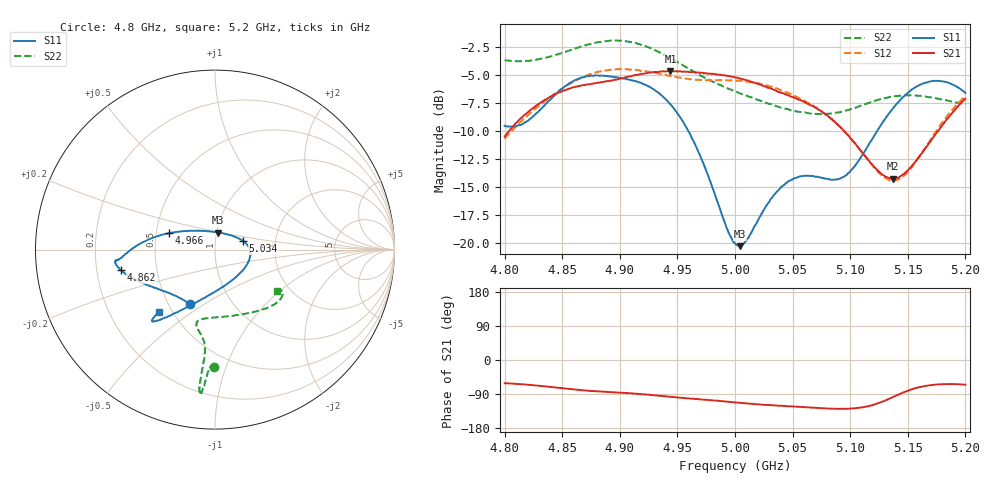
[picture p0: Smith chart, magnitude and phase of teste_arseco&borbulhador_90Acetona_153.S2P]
! Network Analyzer HP8722D
! Hewlett-Packard
! Data name: Linha & Wilkinson
! Saver's name: Rodrigo Anjos
! Comments: Teste da utilização de aquisição
! continua pelo VNA HP8722D
! Time and date: 17/4/2025 12:19
!  Frequency  S11  S21  S12  S22
# HZ  S  MA R 50
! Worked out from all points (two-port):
!   401 points, 4.8 GHz to 5.2 GHz, reference 50 ohm
!   highest |S21| = -4.63 dB at 4.944 GHz (marker M1); lowest = -14.3 dB at 5.137 GHz (marker M2)
!   |S21| within 3 dB of the highest: 4.829 GHz to 5.065 GHz (235.9 MHz wide, 4.77 % of centre); 5.194845 GHz to end of sweep
!   lowest |S11| = -20.3 dB at 5.004 GHz (marker M3), VSWR 1.21, Z = 50.7 + j9.75 ohm
!   |S11| at or under -10 dB: 4.959 GHz to 5.123 GHz (163.9 MHz wide, 3.25 % of centre)
!   |S22| runs from -8.5 to -1.9 dB; largest |S21 - S12| = 0.88
!   S11 on the Smith chart (normalised r, x): 4.8 GHz: 0.64, -0.43; 4.862 GHz: 0.30, -0.10; 4.966 GHz: 0.59, +0.12; 5.034 GHz: 1.36, +0.14; 5.2 GHz: 0.42, -0.38
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4.8e9  0.3337 -115.1  0.2995 -61.4  0.2923 -175.7  0.6568 -90.3
4.819e9  0.3488 -135.2  0.3796 -65.0  0.3674 -174.5  0.6516 -91.9
4.862e9  0.5368 -167.6  0.4999 -78.3  0.5338 -177.7  0.7436 -94.2
4.867e9  0.5481 -169.6  0.5061 -79.6  0.5485 -178.8  0.7582 -94.4
4.9e9  0.5465 -174.0  0.5429 -86.0  0.5981 174.6  0.8012 -95.9
4.934e9  0.4679 180.0  0.5821 -94.4  0.5739 171.1  0.7128 -96.3
4.944e9  0.4166 175.4  0.5866 -97.1  0.5585 171.2  0.6716 -96.1
4.966e9  0.2709 160.2  0.5782 -102.8  0.5362 173.1  0.5758 -95.5
4.993e9  0.1159 117.0  0.5588 -109.8  0.5335 175.4  0.4927 -98.3
5e9  0.09943 94.7  0.5504 -112.1  0.5325 175.6  0.4766 -99.7
5.004e9  0.09657 80.1  0.5449 -112.7  0.5308 175.5  0.4676 -100.6
5.012e9  0.1061 54.6  0.5293 -114.9  0.5247 175.2  0.4509 -102.3
5.034e9  0.1641 17.1  0.4831 -120.0  0.4932 174.2  0.4119 -103.8
5.049e9  0.1913 2.3  0.45 -122.3  0.4608 173.7  0.3925 -99.9
5.067e9  0.1991 -16.9  0.411 -125.5  0.4133 173.0  0.3779 -90.3
5.097e9  0.2013 -69.6  0.3066 -128.8  0.3075 174.6  0.3916 -67.0
5.122e9  0.3083 -109.0  0.2156 -116.5  0.2131 -171.1  0.4331 -49.4
5.134e9  0.3806 -118.6  0.1948 -102.1  0.1904 -155.0  0.449 -43.3
5.137e9  0.3987 -120.4  0.1936 -98.0  0.1902 -150.4  0.4516 -42.0
5.15e9  0.4687 -126.2  0.2109 -81.1  0.2075 -130.8  0.4569 -37.1
5.17e9  0.5279 -130.7  0.2857 -66.3  0.2902 -112.4  0.4476 -32.5
5.2e9  0.4685 -132.1  0.4417 -65.3  0.4526 -107.3  0.4169 -34.0
